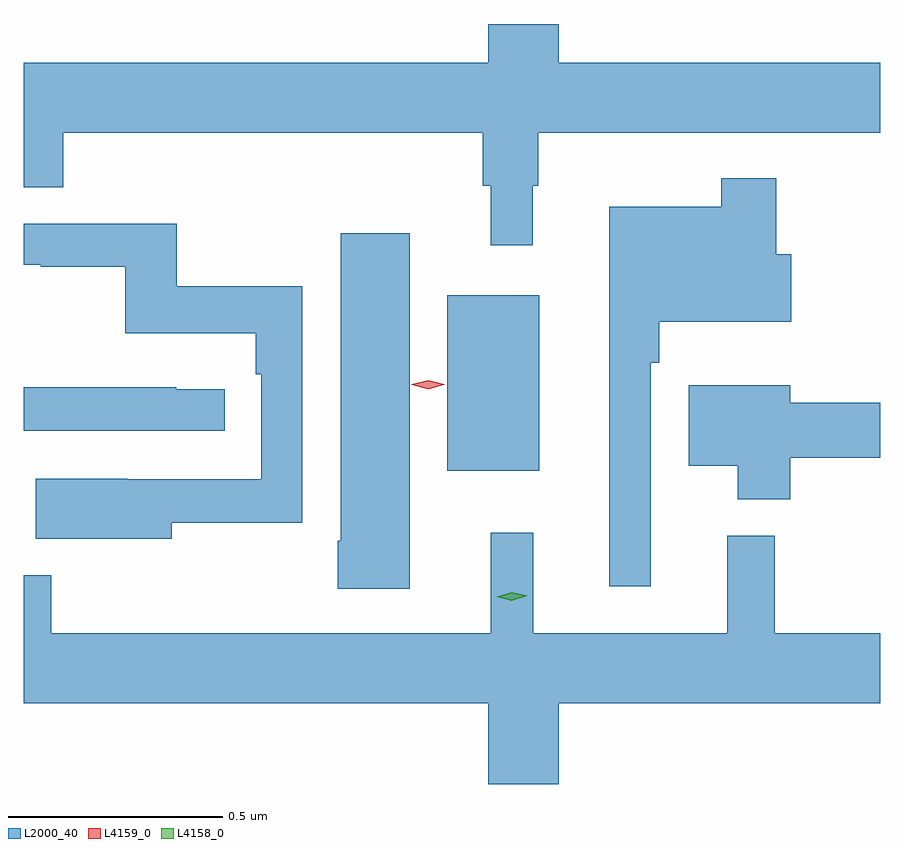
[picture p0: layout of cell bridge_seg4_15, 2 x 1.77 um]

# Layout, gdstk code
import gdstk
lib = gdstk.Library(unit=1e-6, precision=1e-09)
def R(c, l, rs):  # rectangles x0, y0, x1, y1
    for r in rs: c.add(gdstk.rectangle(r[:2], r[2:], *l))
def P(c, l, *ps):  # polygons
    for p in ps: c.add(gdstk.Polygon(p, *l))
L2000_40 = (2000, 40)
L4158_0 = (4158, 0)
L4159_0 = (4159, 0)

bridge_seg4_15 = lib.new_cell('bridge_seg4_15')
R(bridge_seg4_15, L2000_40, [(1028.048,766.727,1028.263,767.137)])
P(bridge_seg4_15, L2000_40, [(1028.248,767.393),(1028.26,767.393),(1028.26,767.516),(1029.059,767.516),(1029.059,767.68),(1028.308,767.68),(1028.308,767.77),(1028.144,767.77),(1028.144,767.68),(1027.059,767.68),(1027.059,767.389),(1027.151,767.389),(1027.151,767.516),(1028.131,767.516),(1028.131,767.393),(1028.15,767.393),(1028.15,767.253),(1028.248,767.253)],
  [(1028.523,766.979),(1028.543,766.979),(1028.543,767.075),(1028.851,767.075),(1028.851,767.233),(1028.816,767.233),(1028.816,767.41),(1028.688,767.41),(1028.688,767.344),(1028.426,767.344),(1028.426,766.458),(1028.523,766.458)],
  [(1027.405,766.606),(1027.71,766.606),(1027.71,767.158),(1027.417,767.158),(1027.417,767.304),(1027.059,767.304),(1027.059,767.208),(1027.099,767.208),(1027.099,767.203),(1027.296,767.203),(1027.296,767.048),(1027.601,767.048),(1027.601,766.952),(1027.614,766.952),(1027.614,766.707),(1027.301,766.707),(1027.301,766.708),(1027.087,766.708),(1027.087,766.568),(1027.405,766.568)],
  [(1027.96,767.281),(1027.799,767.281),(1027.799,766.564),(1027.792,766.564),(1027.792,766.452),(1027.96,766.452)],
  [(1028.848,766.758),(1029.059,766.758),(1029.059,766.886),(1028.848,766.886),(1028.848,766.927),(1028.612,766.927),(1028.612,766.739),(1028.726,766.739),(1028.726,766.661),(1028.848,766.661)],
  [(1027.528,766.917),(1027.415,766.917),(1027.415,766.922),(1027.059,766.922),(1027.059,766.821),(1027.528,766.821)],
  [(1028.308,766.184),(1029.059,766.184),(1029.059,766.348),(1028.812,766.348),(1028.812,766.576),(1028.702,766.576),(1028.702,766.348),(1028.249,766.348),(1028.249,766.582),(1028.15,766.582),(1028.15,766.348),(1027.124,766.348),(1027.124,766.483),(1027.059,766.483),(1027.059,766.184),(1028.144,766.184),(1028.144,765.996),(1028.308,765.996)])
P(bridge_seg4_15, L4158_0, [(1028.199,766.424),(1028.164,766.433),(1028.163,766.433),(1028.164,766.433),(1028.199,766.444),(1028.235,766.435),(1028.235,766.435),(1028.235,766.435)])
P(bridge_seg4_15, L4159_0, [(1028.003,766.918),(1027.965,766.928),(1027.964,766.928),(1027.965,766.929),(1028.003,766.938),(1028.041,766.929),(1028.041,766.928),(1028.041,766.928)])

lib.write_gds('bridge_seg4_15.gds')
